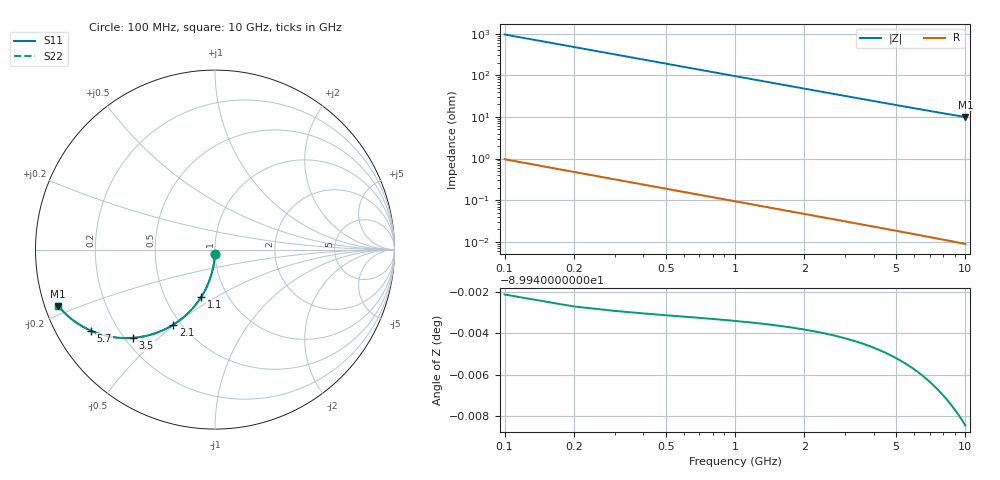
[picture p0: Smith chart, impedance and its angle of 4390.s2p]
# Hz S RI R 50.00
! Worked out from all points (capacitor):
!   100 points, 100 MHz to 10 GHz, reference 50 ohm
!   read as one part in shunt: C = 1.67 pF near 100 MHz
!   lowest |Z| = 9.93 ohm at 10 GHz (marker M1)
!   S11 on the Smith chart (normalised r, x): 100 MHz: 1.00, -0.05; 1.1 GHz: 0.75, -0.43; 2.1 GHz: 0.46, -0.49; 3.5 GHz: 0.23, -0.42; 5.7 GHz: 0.10, -0.30; 10 GHz: 0.04, -0.17
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1e8  -0.000681 -0.026  0.9993 -0.0263  0.9993 -0.0263  -0.000681 -0.026
2e8  -0.00276 -0.0519  0.9972 -0.0526  0.9972 -0.0526  -0.00276 -0.0519
3e8  -0.00618 -0.0776  0.9938 -0.0786  0.9938 -0.0786  -0.00618 -0.0776
4e8  -0.0109 -0.103  0.989 -0.1043  0.989 -0.1043  -0.0109 -0.103
5e8  -0.017 -0.1279  0.983 -0.1295  0.983 -0.1295  -0.017 -0.1279
6e8  -0.0242 -0.1523  0.9757 -0.1543  0.9757 -0.1543  -0.0242 -0.1523
7e8  -0.0326 -0.1761  0.9673 -0.1785  0.9673 -0.1785  -0.0326 -0.1761
9e8  -0.0528 -0.2217  0.9471 -0.2247  0.9471 -0.2247  -0.0528 -0.2217
1.1e9  -0.0768 -0.264  0.9231 -0.2677  0.9231 -0.2677  -0.0768 -0.264
1.4e9  -0.1187 -0.3206  0.8813 -0.3253  0.8813 -0.3253  -0.1187 -0.3206
1.8e9  -0.1819 -0.3823  0.818 -0.3883  0.818 -0.3883  -0.1819 -0.3823
2.1e9  -0.2322 -0.4183  0.7677 -0.4253  0.7677 -0.4253  -0.2322 -0.4183
2.7e9  -0.3332 -0.4664  0.6667 -0.4754  0.6667 -0.4754  -0.3332 -0.4664
3.4e9  -0.4419 -0.4904  0.558 -0.5018  0.558 -0.5018  -0.4419 -0.4904
3.5e9  -0.4562 -0.4917  0.5437 -0.5035  0.5437 -0.5035  -0.4562 -0.4917
4.3e9  -0.5587 -0.4888  0.4411 -0.5033  0.4411 -0.5033  -0.5587 -0.4888
5.1e9  -0.6404 -0.4707  0.3594 -0.488  0.3594 -0.488  -0.6404 -0.4707
5.7e9  -0.69 -0.4522  0.3098 -0.4717  0.3098 -0.4717  -0.69 -0.4522
6.7e9  -0.7548 -0.4181  0.2449 -0.4411  0.2449 -0.4411  -0.7548 -0.4181
7.5e9  -0.7943 -0.3906  0.2053 -0.4165  0.2053 -0.4165  -0.7943 -0.3906
8.4e9  -0.8292 -0.361  0.1703 -0.3902  0.1703 -0.3902  -0.8292 -0.361
1e10  -0.8735 -0.3139  0.1258 -0.349  0.1258 -0.349  -0.8735 -0.3139
